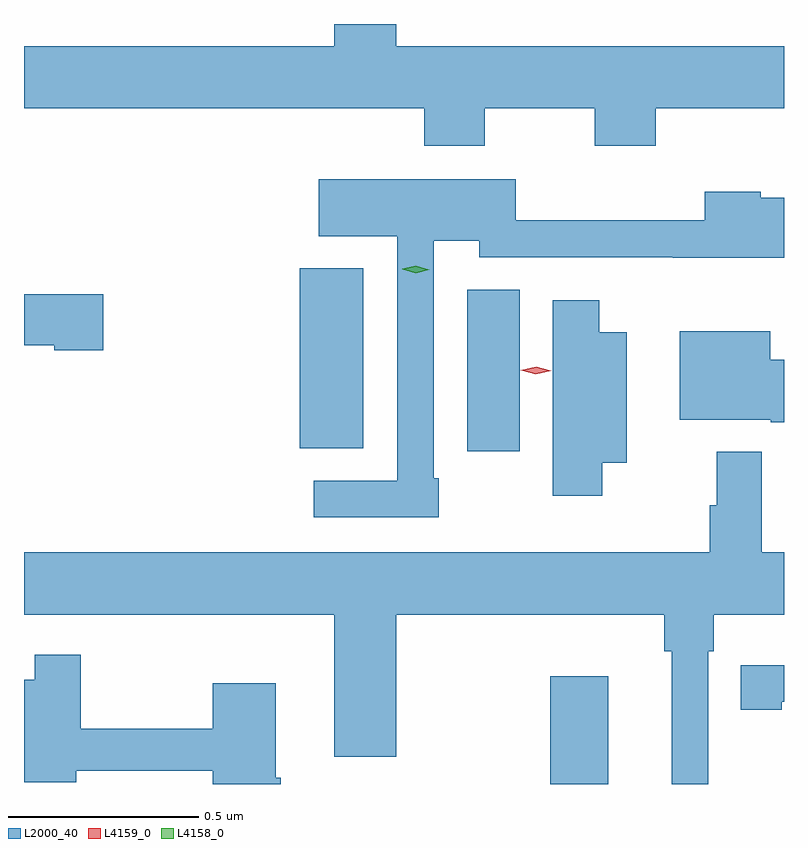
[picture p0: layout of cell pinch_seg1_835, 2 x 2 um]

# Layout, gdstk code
import gdstk
lib = gdstk.Library(unit=1e-6, precision=1e-09)
def R(c, l, rs):  # rectangles x0, y0, x1, y1
    for r in rs: c.add(gdstk.rectangle(r[:2], r[2:], *l))
def P(c, l, *ps):  # polygons
    for p in ps: c.add(gdstk.Polygon(p, *l))
L2000_40 = (2000, 40)
L4158_0 = (4158, 0)
L4159_0 = (4159, 0)

pinch_seg1_835 = lib.new_cell('pinch_seg1_835')
R(pinch_seg1_835, L2000_40, [(489.253,564.606,489.406,564.889), (489.035,565.482,489.172,565.907), (488.594,565.489,488.761,565.963)])
P(pinch_seg1_835, L2000_40, [(489.081,566.384),(489.37,566.384),(489.37,566.285),(489.53,566.285),(489.53,566.384),(489.868,566.384),(489.868,566.548),(488.848,566.548),(488.848,566.606),(488.684,566.606),(488.684,566.548),(487.868,566.548),(487.868,566.384),(488.921,566.384),(488.921,566.285),(489.081,566.285)],
  [(488.959,565.411),(488.946,565.411),(488.946,566.036),(489.066,566.036),(489.066,565.992),(489.575,565.992),(489.575,565.991),(489.868,565.991),(489.868,566.149),(489.807,566.149),(489.807,566.164),(489.659,566.164),(489.659,566.09),(489.162,566.09),(489.162,566.197),(488.643,566.197),(488.643,566.048),(488.85,566.048),(488.85,565.404),(488.631,565.404),(488.631,565.308),(488.959,565.308)],
  [(488.077,565.895),(487.868,565.895),(487.868,565.76),(487.947,565.76),(487.947,565.748),(488.077,565.748)],
  [(489.39,565.451),(489.454,565.451),(489.454,565.795),(489.382,565.795),(489.382,565.879),(489.26,565.879),(489.26,565.365),(489.39,565.365)],
  [(489.868,565.723),(489.832,565.723),(489.832,565.798),(489.593,565.798),(489.593,565.565),(489.833,565.565),(489.833,565.558),(489.868,565.558)],
  [(489.669,564.956),(489.683,564.956),(489.683,565.052),(489.868,565.052),(489.868,565.216),(489.809,565.216),(489.809,565.48),(489.691,565.48),(489.691,565.34),(489.673,565.34),(489.673,565.216),(487.868,565.216),(487.868,565.052),(488.684,565.052),(488.684,564.678),(488.848,564.678),(488.848,565.052),(489.553,565.052),(489.553,564.956),(489.572,564.956),(489.572,564.606),(489.669,564.606)],
  [(488.543,564.622),(488.53,564.622),(488.53,564.871),(488.365,564.871),(488.365,564.751),(488.017,564.751),(488.017,564.946),(487.896,564.946),(487.896,564.88),(487.868,564.88),(487.868,564.611),(488.005,564.611),(488.005,564.641),(488.365,564.641),(488.365,564.606),(488.543,564.606)],
  [(489.862,564.822),(489.868,564.822),(489.868,564.919),(489.862,564.919),(489.862,564.918),(489.754,564.918),(489.754,564.802),(489.862,564.802)])
P(pinch_seg1_835, L4158_0, [(488.899,565.95),(488.864,565.961),(488.864,565.961),(488.864,565.962),(488.899,565.97),(488.934,565.959),(488.934,565.959),(488.934,565.959)])
P(pinch_seg1_835, L4159_0, [(489.215,565.684),(489.175,565.695),(489.175,565.695),(489.175,565.695),(489.216,565.704),(489.256,565.694),(489.256,565.694),(489.256,565.693)])

lib.write_gds('pinch_seg1_835.gds')
